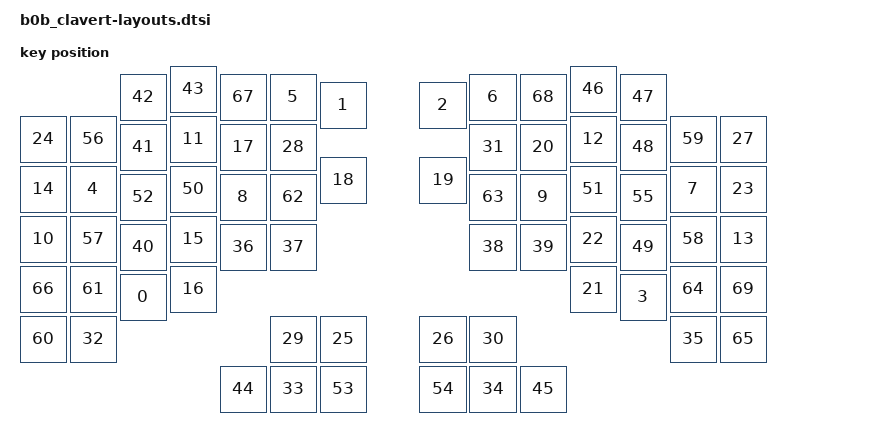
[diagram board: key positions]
#include <physical_layouts.dtsi>

/ {
    physical_layout_b0b_clavert: physical_layout_b0b_clavert {
        compatible = "zmk,physical-layout";
        display-name = "b0b-clavert";
        keys  //                     w   h    x    y     rot    rx    ry
            = <&key_physical_attrs 100 100  200  416       0   200   416>
            , <&key_physical_attrs 100 100  600   32       0   600    32>
            , <&key_physical_attrs 100 100  800   32       0   800    32>
            , <&key_physical_attrs 100 100 1200  416       0  1200   416>
            , <&key_physical_attrs 100 100  100  200       0   100   200>
            , <&key_physical_attrs 100 100  500   16       0   500    16>
            , <&key_physical_attrs 100 100  900   16       0   900    16>
            , <&key_physical_attrs 100 100 1300  200       0  1300   200>
            , <&key_physical_attrs 100 100  400  216       0   400   216>
            , <&key_physical_attrs 100 100 1000  216       0  1000   216>
            , <&key_physical_attrs 100 100    0  300       0     0   300>
            , <&key_physical_attrs 100 100  300  100       0   300   100>
            , <&key_physical_attrs 100 100 1100  100       0  1100   100>
            , <&key_physical_attrs 100 100 1400  300       0  1400   300>
            , <&key_physical_attrs 100 100    0  200       0     0   200>
            , <&key_physical_attrs 100 100  300  300       0   300   300>
            , <&key_physical_attrs 100 100  300  400       0   300   400>
            , <&key_physical_attrs 100 100  400  116       0   400   116>
            , <&key_physical_attrs 100 100  600  182       0   600   182>
            , <&key_physical_attrs 100 100  800  182       0   800   182>
            , <&key_physical_attrs 100 100 1000  116       0  1000   116>
            , <&key_physical_attrs 100 100 1100  400       0  1100   400>
            , <&key_physical_attrs 100 100 1100  300       0  1100   300>
            , <&key_physical_attrs 100 100 1400  200       0  1400   200>
            , <&key_physical_attrs 100 100    0  100       0     0   100>
            , <&key_physical_attrs 100 100  600  500       0   600   500>
            , <&key_physical_attrs 100 100  800  500       0   800   500>
            , <&key_physical_attrs 100 100 1400  100       0  1400   100>
            , <&key_physical_attrs 100 100  500  116       0   500   116>
            , <&key_physical_attrs 100 100  500  500       0   500   500>
            , <&key_physical_attrs 100 100  900  500       0   900   500>
            , <&key_physical_attrs 100 100  900  116       0   900   116>
            , <&key_physical_attrs 100 100  100  500       0   100   500>
            , <&key_physical_attrs 100 100  500  600       0   500   600>
            , <&key_physical_attrs 100 100  900  600       0   900   600>
            , <&key_physical_attrs 100 100 1300  500       0  1300   500>
            , <&key_physical_attrs 100 100  400  316       0   400   316>
            , <&key_physical_attrs 100 100  500  316       0   500   316>
            , <&key_physical_attrs 100 100  900  316       0   900   316>
            , <&key_physical_attrs 100 100 1000  316       0  1000   316>
            , <&key_physical_attrs 100 100  200  316       0   200   316>
            , <&key_physical_attrs 100 100  200  116       0   200   116>
            , <&key_physical_attrs 100 100  200   16       0   200    16>
            , <&key_physical_attrs 100 100  300    0       0   300     0>
            , <&key_physical_attrs 100 100  400  600       0   400   600>
            , <&key_physical_attrs 100 100 1000  600       0  1000   600>
            , <&key_physical_attrs 100 100 1100    0       0  1100     0>
            , <&key_physical_attrs 100 100 1200   16       0  1200    16>
            , <&key_physical_attrs 100 100 1200  116       0  1200   116>
            , <&key_physical_attrs 100 100 1200  316       0  1200   316>
            , <&key_physical_attrs 100 100  300  200       0   300   200>
            , <&key_physical_attrs 100 100 1100  200       0  1100   200>
            , <&key_physical_attrs 100 100  200  216       0   200   216>
            , <&key_physical_attrs 100 100  600  600       0   600   600>
            , <&key_physical_attrs 100 100  800  600       0   800   600>
            , <&key_physical_attrs 100 100 1200  216       0  1200   216>
            , <&key_physical_attrs 100 100  100  100       0   100   100>
            , <&key_physical_attrs 100 100  100  300       0   100   300>
            , <&key_physical_attrs 100 100 1300  300       0  1300   300>
            , <&key_physical_attrs 100 100 1300  100       0  1300   100>
            , <&key_physical_attrs 100 100    0  500       0     0   500>
            , <&key_physical_attrs 100 100  100  400       0   100   400>
            , <&key_physical_attrs 100 100  500  216       0   500   216>
            , <&key_physical_attrs 100 100  900  216       0   900   216>
            , <&key_physical_attrs 100 100 1300  400       0  1300   400>
            , <&key_physical_attrs 100 100 1400  500       0  1400   500>
            , <&key_physical_attrs 100 100    0  400       0     0   400>
            , <&key_physical_attrs 100 100  400   16       0   400    16>
            , <&key_physical_attrs 100 100 1000   16       0  1000    16>
            , <&key_physical_attrs 100 100 1400  400       0  1400   400>
            ;
    };
};
